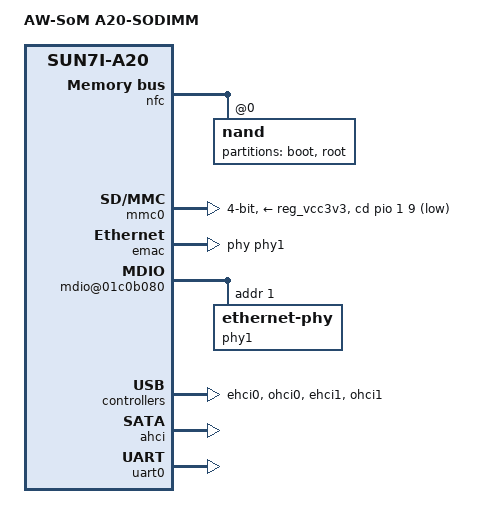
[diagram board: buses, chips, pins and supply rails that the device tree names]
/*
 *
 * Copyright 2014 - AW-SoM Technologies <code@aw-som.com>
 *
 * This file is dual-licensed: you can use it either under the terms
 * of the GPL or the X11 license, at your option. Note that this dual
 * licensing only applies to this file, and not this project as a
 * whole.
 *
 *  a) This file is free software; you can redistribute it and/or
 *     modify it under the terms of the GNU General Public License as
 *     published by the Free Software Foundation; either version 2 of the
 *     License, or (at your option) any later version.
 *
 *     This file is distributed in the hope that it will be useful,
 *     but WITHOUT ANY WARRANTY; without even the implied warranty of
 *     MERCHANTABILITY or FITNESS FOR A PARTICULAR PURPOSE.  See the
 *     GNU General Public License for more details.
 *
 *     You should have received a copy of the GNU General Public
 *     License along with this file; if not, write to the Free
 *     Software Foundation, Inc., 51 Franklin St, Fifth Floor, Boston,
 *     MA 02110-1301 USA
 *
 * Or, alternatively,
 *
 *  b) Permission is hereby granted, free of charge, to any person
 *     obtaining a copy of this software and associated documentation
 *     files (the "Software"), to deal in the Software without
 *     restriction, including without limitation the rights to use,
 *     copy, modify, merge, publish, distribute, sublicense, and/or
 *     sell copies of the Software, and to permit persons to whom the
 *     Software is furnished to do so, subject to the following
 *     conditions:
 *
 *     The above copyright notice and this permission notice shall be
 *     included in all copies or substantial portions of the Software.
 *
 *     THE SOFTWARE IS PROVIDED "AS IS", WITHOUT WARRANTY OF ANY KIND,
 *     EXPRESS OR IMPLIED, INCLUDING BUT NOT LIMITED TO THE WARRANTIES
 *     OF MERCHANTABILITY, FITNESS FOR A PARTICULAR PURPOSE AND
 *     NONINFRINGEMENT. IN NO EVENT SHALL THE AUTHORS OR COPYRIGHT
 *     HOLDERS BE LIABLE FOR ANY CLAIM, DAMAGES OR OTHER LIABILITY,
 *     WHETHER IN AN ACTION OF CONTRACT, TORT OR OTHERWISE, ARISING
 *     FROM, OUT OF OR IN CONNECTION WITH THE SOFTWARE OR THE USE OR
 *     OTHER DEALINGS IN THE SOFTWARE.
 */

/dts-v1/;
#include "sun7i-a20.dtsi"
#include "sunxi-common-regulators.dtsi"

#include <dt-bindings/gpio/gpio.h>
#include <dt-bindings/interrupt-controller/irq.h>
#include <dt-bindings/pinctrl/sunxi.h>

/ {
	model = "AW-SoM A20-SODIMM";
	compatible = "awsom,a20-awsom", "allwinner,sun7i-a20";

	soc@01c00000 {
		nfc: nand@01c03000 {
			pinctrl-names = "default";
			pinctrl-0 = <&nand_pins_a &nand_cs0_pins_a &nand_rb0_pins_a>;
			status = "okay";

			nand@0 {
				#address-cells = <2>;
				#size-cells = <2>;
				reg = <0>;
				allwinner,rb = <0>;

				nand-ecc-mode = "hw";
				nand-rnd-mode = "hw";
				nand-on-flash-bbt;

				boot0@0 {
					label = "boot0";
					reg = /bits/ 64 <0x0 0x20000>;
					nand-ecc-mode = "hw_syndrome";
					nand-rnd-mode = "hw";
					nand-randomizer-seeds = /bits/ 16 <0x4a80>;
				};

				partition@20000 {
					label = "boot";
					reg = /bits/ 64 <0x20000 0x8000>;
					nand-ecc-mode = "hw";
					nand-rnd-mode = "hw";
					nand-randomizer-seeds = /bits/ 16 <
						0x2b75 0x0bd0 0x5ca3 0x62d1 0x1c93 0x07e9 0x2162 0x3a72
						0x0d67 0x67f9 0x1be7 0x077d 0x032f 0x0dac 0x2716 0x2436
						0x7922 0x1510 0x3860 0x5287 0x480f 0x4252 0x1789 0x5a2d
						0x2a49 0x5e10 0x437f 0x4b4e 0x2f45 0x216e 0x5cb7 0x7130
						0x2a3f 0x60e4 0x4dc9 0x0ef0 0x0f52 0x1bb9 0x6211 0x7a56
						0x226d 0x4ea7 0x6f36 0x3692 0x38bf 0x0c62 0x05eb 0x4c55
						0x60f4 0x728c 0x3b6f 0x2037 0x7f69 0x0936 0x651a 0x4ceb
						0x6218 0x79f3 0x383f 0x18d9 0x4f05 0x5c82 0x2912 0x6f17
						0x6856 0x5938 0x1007 0x61ab 0x3e7f 0x57c2 0x542f 0x4f62
						0x7454 0x2eac 0x7739 0x42d4 0x2f90 0x435a 0x2e52 0x2064
						0x637c 0x66ad 0x2c90 0x0bad 0x759c 0x0029 0x0986 0x7126
						0x1ca7 0x1605 0x386a 0x27f5 0x1380 0x6d75 0x24c3 0x0f8e
						0x2b7a 0x1418 0x1fd1 0x7dc1 0x2d8e 0x43af 0x2267 0x7da3
						0x4e3d 0x1338 0x50db 0x454d 0x764d 0x40a3 0x42e6 0x262b
						0x2d2e 0x1aea 0x2e17 0x173d 0x3a6e 0x71bf 0x25f9 0x0a5d
						0x7c57 0x0fbe 0x46ce 0x4939 0x6b17 0x37bb 0x3e91 0x76db>;
				};
				partition@28000 {
					label = "root";
					reg = /bits/ 64 <0x28000 0x10000000>;
					nand-ecc-mode = "hw";
					nand-rnd-mode = "sw";
					nand-randomizer-seeds = /bits/ 16 <
						0x2b75 0x0bd0 0x5ca3 0x62d1 0x1c93 0x07e9 0x2162 0x3a72
						0x0d67 0x67f9 0x1be7 0x077d 0x032f 0x0dac 0x2716 0x2436
						0x7922 0x1510 0x3860 0x5287 0x480f 0x4252 0x1789 0x5a2d
						0x2a49 0x5e10 0x437f 0x4b4e 0x2f45 0x216e 0x5cb7 0x7130
						0x2a3f 0x60e4 0x4dc9 0x0ef0 0x0f52 0x1bb9 0x6211 0x7a56
						0x226d 0x4ea7 0x6f36 0x3692 0x38bf 0x0c62 0x05eb 0x4c55
						0x60f4 0x728c 0x3b6f 0x2037 0x7f69 0x0936 0x651a 0x4ceb
						0x6218 0x79f3 0x383f 0x18d9 0x4f05 0x5c82 0x2912 0x6f17
						0x6856 0x5938 0x1007 0x61ab 0x3e7f 0x57c2 0x542f 0x4f62
						0x7454 0x2eac 0x7739 0x42d4 0x2f90 0x435a 0x2e52 0x2064
						0x637c 0x66ad 0x2c90 0x0bad 0x759c 0x0029 0x0986 0x7126
						0x1ca7 0x1605 0x386a 0x27f5 0x1380 0x6d75 0x24c3 0x0f8e
						0x2b7a 0x1418 0x1fd1 0x7dc1 0x2d8e 0x43af 0x2267 0x7da3
						0x4e3d 0x1338 0x50db 0x454d 0x764d 0x40a3 0x42e6 0x262b
						0x2d2e 0x1aea 0x2e17 0x173d 0x3a6e 0x71bf 0x25f9 0x0a5d
						0x7c57 0x0fbe 0x46ce 0x4939 0x6b17 0x37bb 0x3e91 0x76db>;
				};
			};
		};

		mmc0: mmc@01c0f000 {
			pinctrl-names = "default";
			pinctrl-0 = <&mmc0_pins_a>, <&mmc0_cd_pin_awsom>;
			vmmc-supply = <&reg_vcc3v3>;
			bus-width = <4>;
			cd-gpios = <&pio 1 9 GPIO_ACTIVE_HIGH>; /* PB09 */
			cd-inverted;
			status = "okay";
		};

		emac: ethernet@01c0b000 {
			pinctrl-names = "default";
			pinctrl-0 = <&emac_pins_a>;
			phy = <&phy1>;
			status = "okay";
		};

		mdio@01c0b080 {
			status = "okay";

			phy1: ethernet-phy@1 {
				reg = <1>;
			};
		};

		usbphy: phy@01c13400 {
			usb1_vbus-supply = <&reg_usb1_vbus>;
			usb2_vbus-supply = <&reg_usb2_vbus>;
			status = "okay";
		};

		ehci0: usb@01c14000 {
			status = "okay";
		};

		ohci0: usb@01c14400 {
			status = "okay";
		};

		ahci: sata@01c18000 {
			target-supply = <&reg_ahci_5v>;
			status = "okay";
		};

		ehci1: usb@01c1c000 {
			status = "okay";
		};

		ohci1: usb@01c1c400 {
			status = "okay";
		};

		pinctrl@01c20800 {
			ahci_pwr_pin_awsom: ahci_pwr_pin@1 {
				allwinner,pins = "PC3";
				allwinner,function = "gpio_out";
				allwinner,drive = <SUNXI_PINCTRL_10_MA>;
				allwinner,pull = <SUNXI_PINCTRL_NO_PULL>;
			};

			led_pins_awsom: led_pins@0 {
				allwinner,pins = "PH2";
				allwinner,function = "gpio_out";
				allwinner,drive = <SUNXI_PINCTRL_20_MA>;
				allwinner,pull = <SUNXI_PINCTRL_NO_PULL>;
			};
		};

		uart0: serial@01c28000 {
			pinctrl-names = "default";
			pinctrl-0 = <&uart0_pins_a>;
			status = "okay";
		};

		/*uart2: serial@01c28800 {
			pinctrl-names = "default";
			pinctrl-0 = <&uart2_pins_a>;
			status = "okay";
		};

		uart3: serial@01c28c00 {
			pinctrl-names = "default";
			pinctrl-0 = <&uart3_pins_a>;
			status = "okay";
		};

		uart4: serial@01c29000 {
			pinctrl-names = "default";
			pinctrl-0 = <&uart4_pins_a>;
			status = "okay";
		};

		uart5: serial@01c29400 {
			pinctrl-names = "default";
			pinctrl-0 = <&uart5_pins_a>;
			status = "okay";
		};

		i2c0: i2c@01c2ac00 {
			pinctrl-names = "default";
			pinctrl-0 = <&i2c0_pins_a>;
			status = "okay";

			axp209: pmic@34 {
				compatible = "x-powers,axp209";
				reg = <0x34>;
				interrupt-parent = <&nmi_intc>;
				interrupts = <0 IRQ_TYPE_LEVEL_LOW>;

				interrupt-controller;
				#interrupt-cells = <1>;
			};
		};

		i2c1: i2c@01c2b000 {
			pinctrl-names = "default";
			pinctrl-0 = <&i2c1_pins_a>;
			status = "okay";
		};

		i2c2: i2c@01c2b400 {
			pinctrl-names = "default";
			pinctrl-0 = <&i2c2_pins_a>;
			status = "okay";
		};

		i2c3: i2c@01c2b800 {
			pinctrl-names = "default";
			pinctrl-0 = <&i2c3_pins_a>;
			status = "okay";
		};

		spi0: spi@01c05000 {
			pinctrl-names = "default";
			pinctrl-0 = <&spi0_pins_a>;
			status = "okay";
		};

		spi2: spi@01c17000 {
			pinctrl-names = "default";
			pinctrl-0 = <&spi2_pins_b>;
			status = "okay";
		};

		pwm: pwm@01c20e00 {
			pinctrl-names = "default";
			pinctrl-0 = <&pwm0_pins_a>;
			status = "okay";
		};

		ir0: ir@01c21800 {
			pinctrl-names = "default";
			pinctrl-0 = <&ir0_pins_a>;
			status = "okay";
		};*/
	};

	/*leds {
		compatible = "gpio-leds";
		pinctrl-names = "default";
		pinctrl-0 = <&led_pins_awsom>;

		green {
			label = "a20-awsom:green:usr";
			gpios = <&pio 7 2 GPIO_ACTIVE_HIGH>;
			default-state = "on";
		};
	};*/

	reg_ahci_5v: ahci-5v {
		pinctrl-0 = <&ahci_pwr_pin_awsom>;
		gpio = <&pio 2 3 GPIO_ACTIVE_HIGH>;
		status = "okay";
	};

	reg_usb1_vbus: usb1-vbus {
		status = "okay";
	};

	reg_usb2_vbus: usb2-vbus {
		status = "okay";
	};
};

